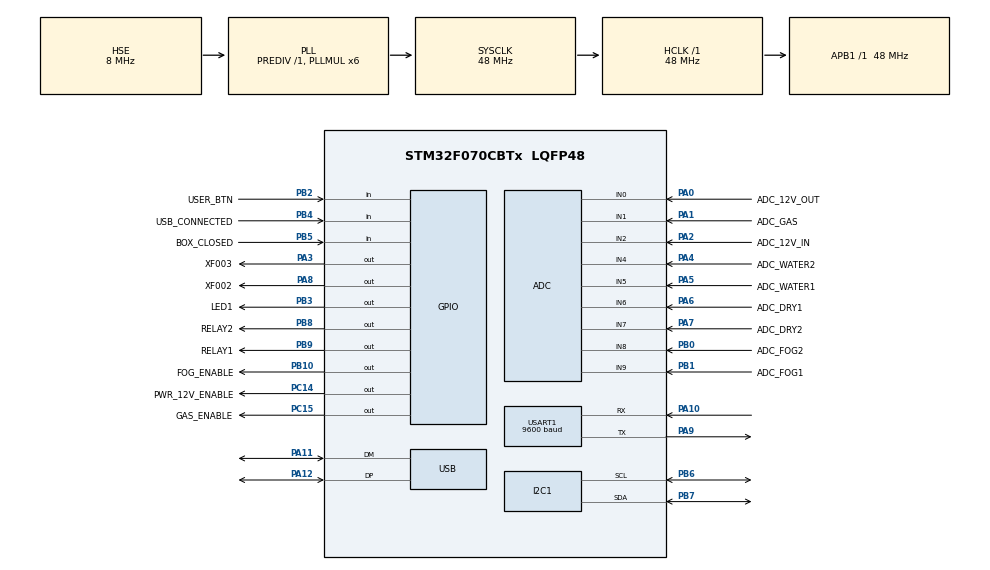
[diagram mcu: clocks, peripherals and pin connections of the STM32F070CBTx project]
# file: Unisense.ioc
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ADC.ClockPrescaler=ADC_CLOCK_SYNC_PCLK_DIV4
ADC.EOCSelection=ADC_EOC_SEQ_CONV
ADC.SamplingTime=ADC_SAMPLETIME_239CYCLES_5
Dma.ADC.0.Direction=DMA_PERIPH_TO_MEMORY
Dma.ADC.0.Instance=DMA1_Channel1
Dma.ADC.0.MemDataAlignment=DMA_MDATAALIGN_HALFWORD
Dma.ADC.0.MemInc=DMA_MINC_ENABLE
Dma.ADC.0.Mode=DMA_NORMAL
Dma.ADC.0.PeriphDataAlignment=DMA_PDATAALIGN_HALFWORD
Dma.ADC.0.PeriphInc=DMA_PINC_DISABLE
Dma.ADC.0.Priority=DMA_PRIORITY_LOW
Dma.Request0=ADC
FREERTOS.INCLUDE_uxTaskGetStackHighWaterMark=1
FREERTOS.Tasks01=cliTask,0,180,cliTaskRoutine,Default,NULL,Dynamic,NULL,NULL;modbusTask,0,150,modbusTaskRoutine,Default,NULL,Dynamic,NULL,NULL;sensTask,0,96,sensTaskRoutine,Default,NULL,Dynamic,NULL,NULL
FREERTOS.configMINIMAL_STACK_SIZE=64
FREERTOS.configTOTAL_HEAP_SIZE=4096
I2C1.Speed=100
I2C1.Timing=0x20303E5D
Mcu.Family=STM32F0
Mcu.Name=STM32F070CBTx
Mcu.Package=LQFP48
NVIC.DMA1_Channel1_IRQn=true\:3\:0\:false\:false\:true\:true
NVIC.I2C1_IRQn=true\:3\:0\:false\:false\:true\:true
NVIC.TIM15_IRQn=true\:3\:0\:false\:false\:true\:true
NVIC.USART1_IRQn=true\:3\:0\:false\:false\:true\:true
NVIC.USB_IRQn=true\:3\:0\:false\:false\:true\:true
PA0.GPIO_Label=ADC_12V_OUT
PA0.Mode=IN0
PA0.Signal=ADC_IN0
PA1.GPIO_Label=ADC_GAS
PA1.Mode=IN1
PA1.Signal=ADC_IN1
PA10.Mode=Asynchronous
PA10.Signal=USART1_RX
PA11.Mode=Device
PA11.Signal=USB_DM
PA12.Mode=Device
PA12.Signal=USB_DP
PA13.Mode=Serial_Wire
PA13.Signal=SYS_SWDIO
PA14.Mode=Serial_Wire
PA14.Signal=SYS_SWCLK
PA2.GPIO_Label=ADC_12V_IN
PA2.Mode=IN2
PA2.Signal=ADC_IN2
PA3.GPIO_Label=XF003
PA3.Signal=GPIO_Output
PA4.GPIO_Label=ADC_WATER2
PA4.Mode=IN4
PA4.Signal=ADC_IN4
PA5.GPIO_Label=ADC_WATER1
PA5.Mode=IN5
PA5.Signal=ADC_IN5
PA6.GPIO_Label=ADC_DRY1
PA6.Mode=IN6
PA6.Signal=ADC_IN6
PA7.GPIO_Label=ADC_DRY2
PA7.Mode=IN7
PA7.Signal=ADC_IN7
PA8.GPIO_Label=XF002
PA8.Signal=GPIO_Output
PA9.Mode=Asynchronous
PA9.Signal=USART1_TX
PB0.GPIO_Label=ADC_FOG2
PB0.Mode=IN8
PB0.Signal=ADC_IN8
PB1.GPIO_Label=ADC_FOG1
PB1.Mode=IN9
PB1.Signal=ADC_IN9
PB10.GPIO_Label=FOG_ENABLE
PB10.Signal=GPIO_Output
PB2.GPIO_Label=USER_BTN
PB2.GPIO_PuPd=GPIO_PULLUP
PB2.Signal=GPIO_Input
PB3.GPIO_Label=LED1
PB3.Signal=GPIO_Output
PB4.GPIO_Label=USB_CONNECTED
PB4.Signal=GPIO_Input
PB5.GPIO_Label=BOX_CLOSED
PB5.GPIO_PuPd=GPIO_NOPULL
PB5.Signal=GPIO_Input
PB6.Mode=I2C
PB6.Signal=I2C1_SCL
PB7.Mode=I2C
PB7.Signal=I2C1_SDA
PB8.GPIO_Label=RELAY2
PB8.Signal=GPIO_Output
PB9.GPIO_Label=RELAY1
PB9.Signal=GPIO_Output
PC14-OSC32_IN.GPIO_Label=PWR_12V_ENABLE
PC14-OSC32_IN.Signal=GPIO_Output
PC15-OSC32_OUT.GPIO_Label=GAS_ENABLE
PC15-OSC32_OUT.Signal=GPIO_Output
PF0-OSC_IN.Mode=HSE-External-Oscillator
PF0-OSC_IN.Signal=RCC_OSC_IN
PF1-OSC_OUT.Mode=HSE-External-Oscillator
PF1-OSC_OUT.Signal=RCC_OSC_OUT
ProjectManager.HeapSize=0x200
ProjectManager.StackSize=0x400
ProjectManager.TargetToolchain=SW4STM32
RCC.AHBFreq_Value=48000000
RCC.APB1Freq_Value=48000000
RCC.APB1TimFreq_Value=48000000
RCC.HCLKFreq_Value=48000000
RCC.HSIState=RCC_HSI_ON
RCC.I2c1ClockSelection=RCC_I2C1CLKSOURCE_SYSCLK
RCC.PLLMUL=RCC_PLL_MUL6
RCC.SYSCLKFreq_VALUE=48000000
RCC.SYSCLKSource=RCC_SYSCLKSOURCE_PLLCLK
TIM15.AutoReloadPreload=TIM_AUTORELOAD_PRELOAD_ENABLE
TIM15.Prescaler=479
USART1.BaudRate=9600
USART1.WordLength=UART_WORDLENGTH_8B
USB_DEVICE.CLASS_NAME_FS=CDC
USB_DEVICE.VirtualModeFS=Cdc_FS
VP_ADC_TempSens_Input.Mode=IN-TempSens
VP_ADC_Vref_Input.Mode=IN-Vrefint
VP_FREERTOS_VS_ENABLE.Mode=Enabled
VP_TIM15_VS_ClockSourceINT.Mode=Internal
VP_USB_DEVICE_VS_USB_DEVICE_CDC_FS.Mode=CDC_FS
board=Unisense

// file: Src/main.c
/**
  ******************************************************************************
  * File Name          : main.c
  * Description        : Main program body
  ******************************************************************************
  *
  * Copyright (c) 2017 STMicroelectronics International N.V.
  * All rights reserved.
  *
  * Redistribution and use in source and binary forms, with or without
  * modification, are permitted, provided that the following conditions are met:
  *
  * 1. Redistribution of source code must retain the above copyright notice,
  *    this list of conditions and the following disclaimer.
  * 2. Redistributions in binary form must reproduce the above copyright notice,
  *    this list of conditions and the following disclaimer in the documentation
  *    and/or other materials provided with the distribution.
  * 3. Neither the name of STMicroelectronics nor the names of other
  *    contributors to this software may be used to endorse or promote products
  *    derived from this software without specific written permission.
  * 4. This software, including modifications and/or derivative works of this
  *    software, must execute solely and exclusively on microcontroller or
  *    microprocessor devices manufactured by or for STMicroelectronics.
  * 5. Redistribution and use of this software other than as permitted under
  *    this license is void and will automatically terminate your rights under
  *    this license.
  *
  * THIS SOFTWARE IS PROVIDED BY STMICROELECTRONICS AND CONTRIBUTORS "AS IS"
  * AND ANY EXPRESS, IMPLIED OR STATUTORY WARRANTIES, INCLUDING, BUT NOT
  * LIMITED TO, THE IMPLIED WARRANTIES OF MERCHANTABILITY, FITNESS FOR A
  * PARTICULAR PURPOSE AND NON-INFRINGEMENT OF THIRD PARTY INTELLECTUAL PROPERTY
  * RIGHTS ARE DISCLAIMED TO THE FULLEST EXTENT PERMITTED BY LAW. IN NO EVENT
  * SHALL STMICROELECTRONICS OR CONTRIBUTORS BE LIABLE FOR ANY DIRECT, INDIRECT,
  * INCIDENTAL, SPECIAL, EXEMPLARY, OR CONSEQUENTIAL DAMAGES (INCLUDING, BUT NOT
  * LIMITED TO, PROCUREMENT OF SUBSTITUTE GOODS OR SERVICES; LOSS OF USE, DATA,
  * OR PROFITS; OR BUSINESS INTERRUPTION) HOWEVER CAUSED AND ON ANY THEORY OF
  * LIABILITY, WHETHER IN CONTRACT, STRICT LIABILITY, OR TORT (INCLUDING
  * NEGLIGENCE OR OTHERWISE) ARISING IN ANY WAY OUT OF THE USE OF THIS SOFTWARE,
  * EVEN IF ADVISED OF THE POSSIBILITY OF SUCH DAMAGE.
  *
  ******************************************************************************
  */
#include "main.h"
#include "stm32f0xx_hal.h"
#include "cmsis_os.h"
#include "usb_device.h"

/* USER CODE BEGIN Includes */
#include "global.h"
#include "cli.h"
#include "mb.h"
#include <string.h>
/* USER CODE END Includes */

ADC_HandleTypeDef hadc;
DMA_HandleTypeDef hdma_adc;

I2C_HandleTypeDef hi2c1;

TIM_HandleTypeDef htim15;

UART_HandleTypeDef huart1;

osThreadId cliTaskHandle;
osThreadId modbusTaskHandle;
osThreadId sensTaskHandle;

/* USER CODE BEGIN PV */
/* Private variables ---------------------------------------------------------*/
#ifdef DEBUG

DebugWindow dwnd;

#endif

// сигнал из прерываний в задачу, что АЦП завершил последовательность преобразований
#define ADC_SIGNAL 0
// сигнал из прерываний в задачу, что приём данных по I2C завершен
#define I2C_RX_SIGNAL 1

osThreadId testTaskHandle;
// данные полученные с LM75A
volatile int16_t lm75buf = 0;

/* USER CODE END PV */

void SystemClock_Config(void);
void Error_Handler(void);
static void MX_GPIO_Init(void);
static void MX_DMA_Init(void);
static void MX_ADC_Init(void);
static void MX_I2C1_Init(void);
static void MX_TIM15_Init(void);
static void MX_USART1_UART_Init(void);
void cliTaskRoutine(void const * argument);
void modbusTaskRoutine(void const * argument);
void sensTaskRoutine(void const * argument);

/* USER CODE BEGIN PFP */
/* Private function prototypes -----------------------------------------------*/

void testTaskRoutine(void const * argument);

/* USER CODE END PFP */

int main(void)
{

  /* MCU Configuration----------------------------------------------------------*/

  /* Reset of all peripherals, Initializes the Flash interface and the Systick. */
  HAL_Init();

  /* Configure the system clock */
  SystemClock_Config();

  /* Initialize all configured peripherals */
  MX_GPIO_Init();
  MX_DMA_Init();
  MX_ADC_Init();
  MX_TIM15_Init();
  MX_USART1_UART_Init();
  MX_I2C1_Init();

  /* USER CODE BEGIN 2 */

  // выключаем светодиод
  HAL_GPIO_WritePin(LED1_GPIO_Port,LED1_Pin,GPIO_PIN_SET);

  // загружаем настройки устройства
  loadSettings();
  if(getCurSettings()->neverStored)
    applyDefaultSettings();

  /* USER CODE END 2 */

  /* Create the thread(s) */
  /* definition and creation of cliTask */
  osThreadDef(cliTask, cliTaskRoutine, osPriorityNormal, 0, 180);
  cliTaskHandle = osThreadCreate(osThread(cliTask), NULL);

  /* definition and creation of modbusTask */
  osThreadDef(modbusTask, modbusTaskRoutine, osPriorityNormal, 0, 150);
  modbusTaskHandle = osThreadCreate(osThread(modbusTask), NULL);

  /* definition and creation of sensTask */
  osThreadDef(sensTask, sensTaskRoutine, osPriorityNormal, 0, 96);
  sensTaskHandle = osThreadCreate(osThread(sensTask), NULL);

  /* USER CODE BEGIN RTOS_THREADS */
  /* add threads, ... */
  osThreadDef(testTask, testTaskRoutine, osPriorityNormal, 0, 64);
  testTaskHandle = osThreadCreate(osThread(testTask), NULL);
  /* USER CODE END RTOS_THREADS */

  /* Start scheduler */
  osKernelStart();

  /* We should never get here as control is now taken by the scheduler */

  /* Infinite loop */
  while (1)
  {

  }

}

/** System Clock Configuration
*/
void SystemClock_Config(void)
{

  RCC_OscInitTypeDef RCC_OscInitStruct;
  RCC_ClkInitTypeDef RCC_ClkInitStruct;
  RCC_PeriphCLKInitTypeDef PeriphClkInit;

    /**Initializes the CPU, AHB and APB busses clocks
    */
  RCC_OscInitStruct.OscillatorType = RCC_OSCILLATORTYPE_HSE;
  RCC_OscInitStruct.HSEState = RCC_HSE_ON;
  RCC_OscInitStruct.HSIState = RCC_HSI_ON;
  RCC_OscInitStruct.PLL.PLLState = RCC_PLL_ON;
  RCC_OscInitStruct.PLL.PLLSource = RCC_PLLSOURCE_HSE;
  RCC_OscInitStruct.PLL.PLLMUL = RCC_PLL_MUL6;
  RCC_OscInitStruct.PLL.PREDIV = RCC_PREDIV_DIV1;
  if (HAL_RCC_OscConfig(&RCC_OscInitStruct) != HAL_OK)
  {
    Error_Handler();
  }

    /**Initializes the CPU, AHB and APB busses clocks
    */
  RCC_ClkInitStruct.ClockType = RCC_CLOCKTYPE_HCLK|RCC_CLOCKTYPE_SYSCLK
                              |RCC_CLOCKTYPE_PCLK1;
  RCC_ClkInitStruct.SYSCLKSource = RCC_SYSCLKSOURCE_PLLCLK;
  RCC_ClkInitStruct.AHBCLKDivider = RCC_SYSCLK_DIV1;
  RCC_ClkInitStruct.APB1CLKDivider = RCC_HCLK_DIV1;

  if (HAL_RCC_ClockConfig(&RCC_ClkInitStruct, FLASH_LATENCY_1) != HAL_OK)
  {
    Error_Handler();
  }

  PeriphClkInit.PeriphClockSelection = RCC_PERIPHCLK_USB|RCC_PERIPHCLK_USART1
                              |RCC_PERIPHCLK_I2C1;
  PeriphClkInit.Usart1ClockSelection = RCC_USART1CLKSOURCE_PCLK1;
  PeriphClkInit.I2c1ClockSelection = RCC_I2C1CLKSOURCE_SYSCLK;
  PeriphClkInit.UsbClockSelection = RCC_USBCLKSOURCE_PLL;

  if (HAL_RCCEx_PeriphCLKConfig(&PeriphClkInit) != HAL_OK)
  {
    Error_Handler();
  }

    /**Configure the Systick interrupt time
    */
  HAL_SYSTICK_Config(HAL_RCC_GetHCLKFreq()/1000);

    /**Configure the Systick
    */
  HAL_SYSTICK_CLKSourceConfig(SYSTICK_CLKSOURCE_HCLK);

  /* SysTick_IRQn interrupt configuration */
  HAL_NVIC_SetPriority(SysTick_IRQn, 3, 0);
}

/* ADC init function */
static void MX_ADC_Init(void)
{

  ADC_ChannelConfTypeDef sConfig;

    /**Configure the global features of the ADC (Clock, Resolution, Data Alignment and number of conversion)
    */
  hadc.Instance = ADC1;
  hadc.Init.ClockPrescaler = ADC_CLOCK_SYNC_PCLK_DIV4;
  hadc.Init.Resolution = ADC_RESOLUTION_12B;
  hadc.Init.DataAlign = ADC_DATAALIGN_RIGHT;
  hadc.Init.ScanConvMode = ADC_SCAN_DIRECTION_FORWARD;
  hadc.Init.EOCSelection = ADC_EOC_SEQ_CONV;
  hadc.Init.LowPowerAutoWait = DISABLE;
  hadc.Init.LowPowerAutoPowerOff = DISABLE;
  hadc.Init.ContinuousConvMode = DISABLE;
  hadc.Init.DiscontinuousConvMode = DISABLE;
  hadc.Init.ExternalTrigConv = ADC_SOFTWARE_START;
  hadc.Init.ExternalTrigConvEdge = ADC_EXTERNALTRIGCONVEDGE_NONE;
  hadc.Init.DMAContinuousRequests = DISABLE;
  hadc.Init.Overrun = ADC_OVR_DATA_PRESERVED;
  if (HAL_ADC_Init(&hadc) != HAL_OK)
  {
    Error_Handler();
  }

    /**Configure for the selected ADC regular channel to be converted.
    */
  sConfig.Channel = ADC_CHANNEL_0;
  sConfig.Rank = ADC_RANK_CHANNEL_NUMBER;
  sConfig.SamplingTime = ADC_SAMPLETIME_239CYCLES_5;
  if (HAL_ADC_ConfigChannel(&hadc, &sConfig) != HAL_OK)
  {
    Error_Handler();
  }

    /**Configure for the selected ADC regular channel to be converted.
    */
  sConfig.Channel = ADC_CHANNEL_1;
  if (HAL_ADC_ConfigChannel(&hadc, &sConfig) != HAL_OK)
  {
    Error_Handler();
  }

    /**Configure for the selected ADC regular channel to be converted.
    */
  sConfig.Channel = ADC_CHANNEL_2;
  if (HAL_ADC_ConfigChannel(&hadc, &sConfig) != HAL_OK)
  {
    Error_Handler();
  }

    /**Configure for the selected ADC regular channel to be converted.
    */
  sConfig.Channel = ADC_CHANNEL_4;
  if (HAL_ADC_ConfigChannel(&hadc, &sConfig) != HAL_OK)
  {
    Error_Handler();
  }

    /**Configure for the selected ADC regular channel to be converted.
    */
  sConfig.Channel = ADC_CHANNEL_5;
  if (HAL_ADC_ConfigChannel(&hadc, &sConfig) != HAL_OK)
  {
    Error_Handler();
  }

    /**Configure for the selected ADC regular channel to be converted.
    */
  sConfig.Channel = ADC_CHANNEL_6;
  if (HAL_ADC_ConfigChannel(&hadc, &sConfig) != HAL_OK)
  {
    Error_Handler();
  }

    /**Configure for the selected ADC regular channel to be converted.
    */
  sConfig.Channel = ADC_CHANNEL_7;
  if (HAL_ADC_ConfigChannel(&hadc, &sConfig) != HAL_OK)
  {
    Error_Handler();
  }

    /**Configure for the selected ADC regular channel to be converted.
    */
  sConfig.Channel = ADC_CHANNEL_8;
  if (HAL_ADC_ConfigChannel(&hadc, &sConfig) != HAL_OK)
  {
    Error_Handler();
  }

    /**Configure for the selected ADC regular channel to be converted.
    */
  sConfig.Channel = ADC_CHANNEL_9;
  if (HAL_ADC_ConfigChannel(&hadc, &sConfig) != HAL_OK)
  {
    Error_Handler();
  }

    /**Configure for the selected ADC regular channel to be converted.
    */
  sConfig.Channel = ADC_CHANNEL_TEMPSENSOR;
  if (HAL_ADC_ConfigChannel(&hadc, &sConfig) != HAL_OK)
  {
    Error_Handler();
  }

    /**Configure for the selected ADC regular channel to be converted.
    */
  sConfig.Channel = ADC_CHANNEL_VREFINT;
  if (HAL_ADC_ConfigChannel(&hadc, &sConfig) != HAL_OK)
  {
    Error_Handler();
  }

}

/* I2C1 init function */
static void MX_I2C1_Init(void)
{

  hi2c1.Instance = I2C1;
  hi2c1.Init.Timing = 0x20303E5D;
  hi2c1.Init.OwnAddress1 = 0;
  hi2c1.Init.AddressingMode = I2C_ADDRESSINGMODE_7BIT;
  hi2c1.Init.DualAddressMode = I2C_DUALADDRESS_DISABLE;
  hi2c1.Init.OwnAddress2 = 0;
  hi2c1.Init.OwnAddress2Masks = I2C_OA2_NOMASK;
  hi2c1.Init.GeneralCallMode = I2C_GENERALCALL_DISABLE;
  hi2c1.Init.NoStretchMode = I2C_NOSTRETCH_DISABLE;
  if (HAL_I2C_Init(&hi2c1) != HAL_OK)
  {
    Error_Handler();
  }

    /**Configure Analogue filter
    */
  if (HAL_I2CEx_ConfigAnalogFilter(&hi2c1, I2C_ANALOGFILTER_ENABLE) != HAL_OK)
  {
    Error_Handler();
  }

}

/* TIM15 init function */
static void MX_TIM15_Init(void)
{

  TIM_ClockConfigTypeDef sClockSourceConfig;
  TIM_MasterConfigTypeDef sMasterConfig;

  htim15.Instance = TIM15;
  htim15.Init.Prescaler = 479;
  htim15.Init.CounterMode = TIM_COUNTERMODE_UP;
  htim15.Init.Period = 0;
  htim15.Init.ClockDivision = TIM_CLOCKDIVISION_DIV1;
  htim15.Init.RepetitionCounter = 0;
  htim15.Init.AutoReloadPreload = TIM_AUTORELOAD_PRELOAD_ENABLE;
  if (HAL_TIM_Base_Init(&htim15) != HAL_OK)
  {
    Error_Handler();
  }

  sClockSourceConfig.ClockSource = TIM_CLOCKSOURCE_INTERNAL;
  if (HAL_TIM_ConfigClockSource(&htim15, &sClockSourceConfig) != HAL_OK)
  {
    Error_Handler();
  }

  sMasterConfig.MasterOutputTrigger = TIM_TRGO_RESET;
  sMasterConfig.MasterSlaveMode = TIM_MASTERSLAVEMODE_DISABLE;
  if (HAL_TIMEx_MasterConfigSynchronization(&htim15, &sMasterConfig) != HAL_OK)
  {
    Error_Handler();
  }

}

/* USART1 init function */
static void MX_USART1_UART_Init(void)
{

  huart1.Instance = USART1;
  huart1.Init.BaudRate = 9600;
  huart1.Init.WordLength = UART_WORDLENGTH_8B;
  huart1.Init.StopBits = UART_STOPBITS_1;
  huart1.Init.Parity = UART_PARITY_NONE;
  huart1.Init.Mode = UART_MODE_TX_RX;
  huart1.Init.HwFlowCtl = UART_HWCONTROL_NONE;
  huart1.Init.OverSampling = UART_OVERSAMPLING_16;
  huart1.Init.OneBitSampling = UART_ONE_BIT_SAMPLE_DISABLE;
  huart1.AdvancedInit.AdvFeatureInit = UART_ADVFEATURE_NO_INIT;
  if (HAL_UART_Init(&huart1) != HAL_OK)
  {
    Error_Handler();
  }

}

static void MX_DMA_Init(void)
{
  /* DMA controller clock enable */
  __HAL_RCC_DMA1_CLK_ENABLE();

  /* DMA interrupt init */
  /* DMA1_Channel1_IRQn interrupt configuration */
  HAL_NVIC_SetPriority(DMA1_Channel1_IRQn, 3, 0);
  HAL_NVIC_EnableIRQ(DMA1_Channel1_IRQn);

}

/** Configure pins as
        * Analog
        * Input
        * Output
        * EVENT_OUT
        * EXTI
        * Free pins are configured automatically as Analog (this feature is enabled through
        * the Code Generation settings)
*/
static void MX_GPIO_Init(void)
{

  GPIO_InitTypeDef GPIO_InitStruct;

  /* GPIO Ports Clock Enable */
  __HAL_RCC_GPIOC_CLK_ENABLE();
  __HAL_RCC_GPIOF_CLK_ENABLE();
  __HAL_RCC_GPIOA_CLK_ENABLE();
  __HAL_RCC_GPIOB_CLK_ENABLE();

  /*Configure GPIO pin Output Level */
  HAL_GPIO_WritePin(GPIOC, PWR_12V_ENABLE_Pin|GAS_ENABLE_Pin, GPIO_PIN_RESET);

  /*Configure GPIO pin Output Level */
  HAL_GPIO_WritePin(GPIOA, XF003_Pin|XF002_Pin, GPIO_PIN_RESET);

  /*Configure GPIO pin Output Level */
  HAL_GPIO_WritePin(GPIOB, FOG_ENABLE_Pin|LED1_Pin|RELAY2_Pin|RELAY1_Pin, GPIO_PIN_RESET);

  /*Configure GPIO pin : PC13 */
  GPIO_InitStruct.Pin = GPIO_PIN_13;
  GPIO_InitStruct.Mode = GPIO_MODE_ANALOG;
  GPIO_InitStruct.Pull = GPIO_NOPULL;
  HAL_GPIO_Init(GPIOC, &GPIO_InitStruct);

  /*Configure GPIO pins : PWR_12V_ENABLE_Pin GAS_ENABLE_Pin */
  GPIO_InitStruct.Pin = PWR_12V_ENABLE_Pin|GAS_ENABLE_Pin;
  GPIO_InitStruct.Mode = GPIO_MODE_OUTPUT_PP;
  GPIO_InitStruct.Pull = GPIO_NOPULL;
  GPIO_InitStruct.Speed = GPIO_SPEED_FREQ_LOW;
  HAL_GPIO_Init(GPIOC, &GPIO_InitStruct);

  /*Configure GPIO pins : XF003_Pin XF002_Pin */
  GPIO_InitStruct.Pin = XF003_Pin|XF002_Pin;
  GPIO_InitStruct.Mode = GPIO_MODE_OUTPUT_PP;
  GPIO_InitStruct.Pull = GPIO_NOPULL;
  GPIO_InitStruct.Speed = GPIO_SPEED_FREQ_LOW;
  HAL_GPIO_Init(GPIOA, &GPIO_InitStruct);

  /*Configure GPIO pins : USER_BTN_Pin */
  GPIO_InitStruct.Pin = USER_BTN_Pin;
  GPIO_InitStruct.Mode = GPIO_MODE_INPUT;
  GPIO_InitStruct.Pull = GPIO_PULLUP;
  HAL_GPIO_Init(GPIOB, &GPIO_InitStruct);

  /*Configure GPIO pins : USB_CONNECTED_Pin BOX_CLOSED_Pin */
  GPIO_InitStruct.Pin = USB_CONNECTED_Pin|BOX_CLOSED_Pin;
  GPIO_InitStruct.Mode = GPIO_MODE_INPUT;
  GPIO_InitStruct.Pull = GPIO_NOPULL;
  HAL_GPIO_Init(GPIOB, &GPIO_InitStruct);

  /*Configure GPIO pins : FOG_ENABLE_Pin LED1_Pin RELAY2_Pin RELAY1_Pin */
  GPIO_InitStruct.Pin = FOG_ENABLE_Pin|LED1_Pin|RELAY2_Pin|RELAY1_Pin;
  GPIO_InitStruct.Mode = GPIO_MODE_OUTPUT_PP;
  GPIO_InitStruct.Pull = GPIO_NOPULL;
  GPIO_InitStruct.Speed = GPIO_SPEED_FREQ_LOW;
  HAL_GPIO_Init(GPIOB, &GPIO_InitStruct);

  /*Configure GPIO pins : PB11 PB12 PB13 PB14
                           PB15 */
  GPIO_InitStruct.Pin = GPIO_PIN_11|GPIO_PIN_12|GPIO_PIN_13|GPIO_PIN_14
                          |GPIO_PIN_15;
  GPIO_InitStruct.Mode = GPIO_MODE_ANALOG;
  GPIO_InitStruct.Pull = GPIO_NOPULL;
  HAL_GPIO_Init(GPIOB, &GPIO_InitStruct);

  /*Configure GPIO pin : PA15 */
  GPIO_InitStruct.Pin = GPIO_PIN_15;
  GPIO_InitStruct.Mode = GPIO_MODE_ANALOG;
  GPIO_InitStruct.Pull = GPIO_NOPULL;
  HAL_GPIO_Init(GPIOA, &GPIO_InitStruct);

}

/* USER CODE BEGIN 4 */

UART_HandleTypeDef* getModbusUart()
{
  return &huart1;
}

/*
UART_HandleTypeDef* getCliUart()
{
  return &huart3;
}
*/

TIM_HandleTypeDef* getModbusTimer(void)
{
  return &htim15;
}

void modbusInitUart(uint32_t baudRate, uint8_t dataBits, uint8_t parity, uint8_t stopbits)
{
  UART_HandleTypeDef *pModbusUart = getModbusUart();

  if(HAL_UART_DeInit(pModbusUart) != HAL_OK)
  {
    Error_Handler();
  }

  /* Внимание: нельзя в этой функции присваивать указатель на UART,
   * потому что мы можем использовать далее другой модуль UART и
   * какой именно мы используем, задаётся в методе getModbusUart,
   * hInstance не всегда будет USART2! */
  //pModbusUart->Instance = USART2;

  pModbusUart->Init.BaudRate = baudRate;

  switch(dataBits)
  {
  case 7:
    pModbusUart->Init.WordLength = UART_WORDLENGTH_7B;
    break;
  case 8:
    pModbusUart->Init.WordLength = UART_WORDLENGTH_8B;
    break;
  case 9:
    pModbusUart->Init.WordLength = UART_WORDLENGTH_9B;
    break;
  default:
    pModbusUart->Init.WordLength = UART_WORDLENGTH_8B;
    break;
  }

  switch(stopbits)
  {
  case 0:
    //pModbusUart->Init.StopBits = UART_STOPBITS_0_5;
    // XXX Для F070 нет UART с поддержкой стопбита 0.5
    pModbusUart->Init.StopBits = UART_STOPBITS_1;
    break;
  case 1:
    pModbusUart->Init.StopBits = UART_STOPBITS_1;
    break;
  case 2:
    pModbusUart->Init.StopBits = UART_STOPBITS_2;
    break;
  default:
    pModbusUart->Init.StopBits = UART_STOPBITS_1;
  }

  switch(parity)
  {
  case MB_PAR_NONE:
    pModbusUart->Init.Parity = UART_PARITY_NONE;
    break;
  case MB_PAR_EVEN:
    pModbusUart->Init.Parity = UART_PARITY_EVEN;
    break;
  case MB_PAR_ODD:
    break;
  default:
    pModbusUart->Init.Parity = UART_PARITY_ODD;
    break;
  }

  pModbusUart->Init.Mode = UART_MODE_TX_RX;
  pModbusUart->Init.HwFlowCtl = UART_HWCONTROL_NONE;
  pModbusUart->Init.OverSampling = UART_OVERSAMPLING_16;
  pModbusUart->Init.OneBitSampling = UART_ONE_BIT_SAMPLE_DISABLE;
  pModbusUart->AdvancedInit.AdvFeatureInit = UART_ADVFEATURE_NO_INIT;
  if (HAL_UART_Init(pModbusUart) != HAL_OK)
  {
    Error_Handler();
  }
}

void modbusInitTimer(uint32_t tick50usCount)
{
  TIM_HandleTypeDef *pModbusTimer = getModbusTimer();

  if(HAL_TIM_Base_DeInit(pModbusTimer) != HAL_OK)
  {
    Error_Handler();
  }

  TIM_ClockConfigTypeDef sClockSourceConfig;
  TIM_MasterConfigTypeDef sMasterConfig;

  /* Внимание: нельзя в этой функции присваивать указатель на Timer,
   * потому что мы можем использовать далее другой Timer и
   * какой именно мы используем, задаётся в методе getModbusTimer,
   * hInstance не всегда будет TIM2! */
  //pModbusTimer->Instance = TIM2;

  pModbusTimer->Init.Prescaler = 2399; // настраиваем таймер на тикание с периодом 50 мкс
  pModbusTimer->Init.CounterMode = TIM_COUNTERMODE_UP;
  pModbusTimer->Init.Period = tick50usCount;
  pModbusTimer->Init.ClockDivision = TIM_CLOCKDIVISION_DIV1;
  pModbusTimer->Init.AutoReloadPreload = TIM_AUTORELOAD_PRELOAD_ENABLE;

  if (HAL_TIM_Base_Init(pModbusTimer) != HAL_OK)
  {
    Error_Handler();
  }

  sClockSourceConfig.ClockSource = TIM_CLOCKSOURCE_INTERNAL;
  if (HAL_TIM_ConfigClockSource(pModbusTimer, &sClockSourceConfig) != HAL_OK)
  {
    Error_Handler();
  }

  sMasterConfig.MasterOutputTrigger = TIM_TRGO_RESET;
  sMasterConfig.MasterSlaveMode = TIM_MASTERSLAVEMODE_DISABLE;
  if (HAL_TIMEx_MasterConfigSynchronization(pModbusTimer, &sMasterConfig) != HAL_OK)
  {
    Error_Handler();
  }
}

/**
 * @brief  Period elapsed callback in non blocking mode
 * @param  htim : TIM handle
 * @retval None
 */
void HAL_TIM_PeriodElapsedCallback(TIM_HandleTypeDef *htim)
{
  if(htim->Instance == getModbusTimer()->Instance)
  {
    pxMBPortCBTimerExpired();
  }
}

/**
 * @brief  Rx Transfer completed callback
 * @param  UartHandle: UART handle
 * @note   This example shows a simple way to report end of DMA Rx transfer, and
 *         you can add your own implementation.
 * @retval None
 */
void HAL_UART_RxCpltCallback(UART_HandleTypeDef *huart)
{
  /*if (huart->Instance == getCliUart()->Instance)
  {
    osSignalSet(cliTaskHandle, CLI_UART_SIGNAL);
  }*/

  if (huart->Instance == getModbusUart()->Instance)
  {
    // говорим стеку модбас, что мы получили новый байт
    pxMBFrameCBByteReceived();
    // включаем прерывания и ждём следующий байт
    vMBPortSerialEnable(TRUE,FALSE);
  }
}

/**
 * @brief Tx Transfer completed callback.
 * @param huart: UART handle.
 * @retval None
 */
void HAL_UART_TxCpltCallback(UART_HandleTypeDef *huart)
{
  if (huart->Instance == getModbusUart()->Instance)
  {
    // говорим стеку модбас, что мы готовы отправить следующий байт сообщения
    pxMBFrameCBTransmitterEmpty();
  }
}

/**
 * @brief  UART error callbacks
 * @param  UartHandle: UART handle
 * @note   This example shows a simple way to report transfer error, and you can
 *         add your own implementation.
 * @retval None
 */
void HAL_UART_ErrorCallback(UART_HandleTypeDef *UartHandle)
{
  // nothing
  return;
}

/**
 * @brief  Conversion complete callback in non blocking mode
 * @param  hadc: ADC handle
 * @retval None
*/
void HAL_ADC_ConvCpltCallback(ADC_HandleTypeDef* hadc)
{
  osSignalSet(sensTaskHandle,ADC_SIGNAL);
}

/**
 * @brief  Master Rx Transfer completed callback.
 * @param  hi2c Pointer to a I2C_HandleTypeDef structure that contains
 *                the configuration information for the specified I2C.
 * @retval None
 */
void HAL_I2C_MasterRxCpltCallback(I2C_HandleTypeDef *hi2c)
{
  osSignalSet(sensTaskHandle,I2C_RX_SIGNAL);
}

void testTaskRoutine(void const * argument)
{
  for(;;)
  {
    HAL_GPIO_TogglePin(LED1_GPIO_Port,LED1_Pin);
    osDelay(500);
  }
}

/* USER CODE END 4 */

/* cliTaskRoutine function */
void cliTaskRoutine(void const * argument)
{
  /* Prepare USB to work */
  MX_USB_DEVICE_Init();
  /* USER CODE BEGIN 5 */
  cliInit();
  /* Infinite loop */
  for (;;)
  {
    cliRecieveSymbol();

    if(osSignalWait(CLI_UART_SIGNAL, 50).status == osEventSignal)
    {
      cliProcessLastSymbol();
    }

#ifdef DEBUG
    dwnd.cliTaskStackSize = uxTaskGetStackHighWaterMark(NULL);
#endif
  }
}

/* modbusTaskRoutine function */
void modbusTaskRoutine(void const * argument)
{
  /* USER CODE BEGIN modbusTaskRoutine */
  // записываем Modbus Report Id
  uint32_t *pId = (uint32_t*)UID_BASE;
  char* modbusSlaveId = (char*)pvPortMalloc(128);
  snprintf(modbusSlaveId,128,"%s,%s,%X%X%X",DEVICE_NAME,VERSION_NAME,*pId,*(pId+4),*(pId+8));
  eMBSetSlaveID(0,TRUE,(const UCHAR*)modbusSlaveId,(USHORT)strlen(modbusSlaveId));
  vPortFree(modbusSlaveId);
  modbusSlaveId = 0;

  for (;;)
  {
    if(reqModbusInit && !flagModbusTxEnabled)
    {
      // получаем указатель на настройки
      Settings *pSettings = getCurSettings();
      // перенастраиваем порт UART и Таймер для Модбаса
      eMBInit(  MB_RTU,
                pSettings->modbusAddr,
                pSettings->modbusStopbits,
                pSettings->modbusBaudrate,
                pSettings->modbusParity);
      // включаем приёмник UART и Таймер Модбас
      eMBEnable();
      // говорим системе, что Модбас настроен
      reqModbusInit = FALSE;
    }

    // обрабатываем сообщения модбас
    /* Внимание: эта функция блокирует поток на 50мс в ожидании
     * сообщения от Таймера Модбаса, который срабатывает по истечении
     * периода в 3.5 символа Модбас */
    eMBPoll();

#ifdef DEBUG
    dwnd.modbusTaskStackSize = uxTaskGetStackHighWaterMark(NULL);
#endif
  }
  /* USER CODE END modbusTaskRoutine */
}

/* sensTaskRoutine function */
void sensTaskRoutine(void const * argument)
{
  /* USER CODE BEGIN sensTaskRoutine */
  uint32_t calibrationTimer = 0;
  // буфер для расчета температуры
  int32_t temp = 0;
  // перед началом работы калибруем АЦП
  HAL_ADCEx_Calibration_Start(&hadc);
  // Включаем БП12В
  set12vEnable(1);
  // Включаем датчики задымления
  setFogEnable(1);
  /* Infinite loop */
  for(;;)
  {
    // примерно через каждые 10-20 минут, выполняем калибровку АЦП
    if(calibrationTimer > 0x1FFFF)
    {
      HAL_ADCEx_Calibration_Start(&hadc);
      calibrationTimer = 0;
    }
    else
    {
      calibrationTimer++;
    }

    // выполняем сброс датчиков задымления
    if(reqResetFog)
    {
      // выключаем питание датчиков
      setFogEnable(0);
      // ждём 3 секунды
      osDelay(3000);
      // всё по новой
      setFogEnable(1);
      reqResetFog = FALSE;

      // TODO подумать: когда делаем сброс задымления, останавливается опрос остальных датчиков
    }

    // TODO подумать над включением датчика газа
    // включаем датчик газа
    setGasEnable(1);
    // включаем АЦП
    HAL_ADC_Start_DMA(&hadc,(uint32_t*)gAdcValue,ADC_USED_CHANNELS_COUNT);
    // ждём завершения измерений
    if(osSignalWait(ADC_SIGNAL,500).status == osEventSignal)
    {
      // обрабатываем датчики
      Settings *pSettings = getCurSettings();

      updateSensor(getDryContacts1(), gAdcValue[ADC_DRY1_IDX], pSettings->dryLevel, 75, TRUE);
      updateSensor(getDryContacts2(), gAdcValue[ADC_DRY2_IDX], pSettings->dryLevel, 75, TRUE);
      updateSensor(getWaterSensor1(), gAdcValue[ADC_WATER1_IDX], pSettings->waterLevel, pSettings->waterHyst, FALSE);
      updateSensor(getWaterSensor2(), gAdcValue[ADC_WATER2_IDX], pSettings->waterLevel, pSettings->waterHyst, FALSE);
      updateSensor(getFogSensor1(), gAdcValue[ADC_FOG1_IDX], pSettings->fogLevel, pSettings->fogHyst, FALSE);
      updateSensor(getFogSensor2(), gAdcValue[ADC_FOG2_IDX], pSettings->fogLevel, pSettings->fogHyst, FALSE);
      updateSensor(getGasSensor1(), gAdcValue[ADC_GAS_IDX], pSettings->gasLevel, pSettings->gasHyst, FALSE);

      // системные данные
      gVdd = getSystemVdd(gAdcValue[ADC_VREFINT_IDX]);
      gMcuTemperature = getSystemTemperature(gAdcValue[ADC_TEMPERATURE_IDX],gAdcValue[ADC_VREFINT_IDX]);
    }
    // выключаем датчик газа
    setGasEnable(0);

    // TODO подумать, когда делаем опрос датчика температуры, то останавливается опрос остальных датчиков
    // Получение значений температуры по I2C
    HAL_I2C_Master_Receive_IT(&hi2c1,LM75_ADDR,(uint8_t*)&lm75buf,2);
    if(osSignalWait(I2C_RX_SIGNAL,100).status == osEventSignal)
    //if(HAL_I2C_Master_Receive(&hi2c1,LM75_ADDR,(uint8_t*)&lm75buf,2,100) == HAL_OK)
    {
      // меняем местами байты, так как первым приходит старший байт
      lm75buf = ((lm75buf >> 8) & 0x00FF) | ((lm75buf << 8) & 0xFF00);
      // преобразуем полученные данные в температуру
      lm75buf >>= 5;
      temp = lm75buf;
      temp *= 125;
      temp /= 100;
      gTemperature = temp;
    }

#ifdef DEBUG
    dwnd.sensTaskStackSize = uxTaskGetStackHighWaterMark(NULL);
#endif
  }
  /* USER CODE END sensTaskRoutine */
}

void Error_Handler(void)
{
  /* USER CODE BEGIN Error_Handler */
  /* User can add his own implementation to report the HAL error return state */
  while(1)
  {
    HAL_GPIO_WritePin(LED1_GPIO_Port,LED1_Pin,GPIO_PIN_RESET);
  }
  /* USER CODE END Error_Handler */
}

/************************ (C) COPYRIGHT STMicroelectronics *****END OF FILE****/
